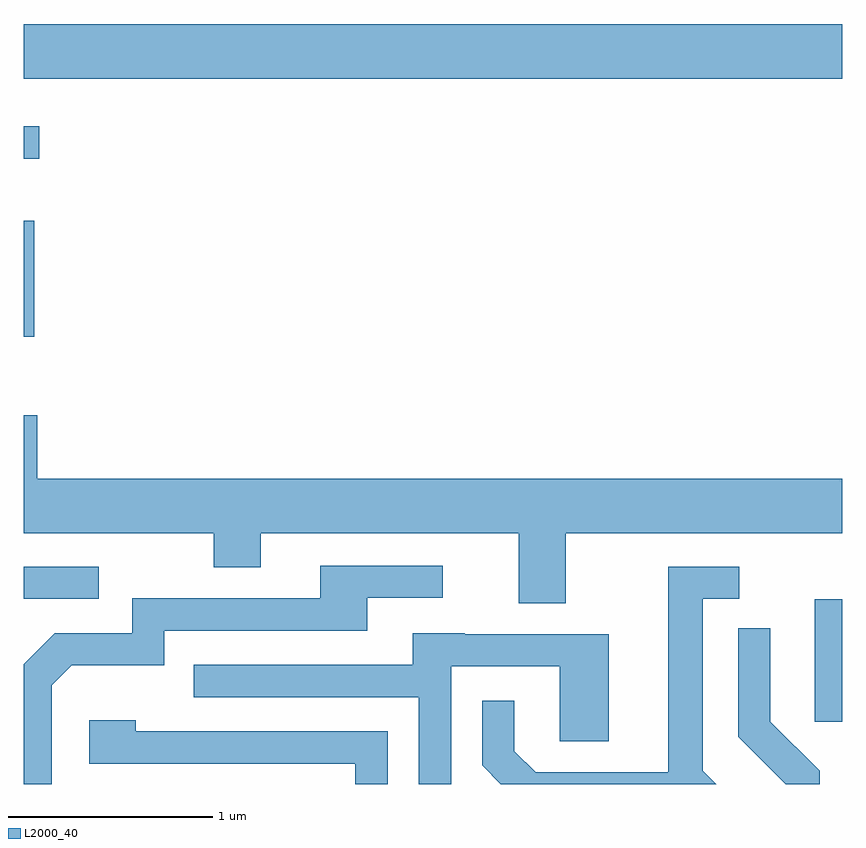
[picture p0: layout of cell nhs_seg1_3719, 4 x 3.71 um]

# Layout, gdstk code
import gdstk
lib = gdstk.Library(unit=1e-6, precision=1e-09)
def R(c, l, rs):  # rectangles x0, y0, x1, y1
    for r in rs: c.add(gdstk.rectangle(r[:2], r[2:], *l))
def P(c, l, *ps):  # polygons
    for p in ps: c.add(gdstk.Polygon(p, *l))
L2000_40 = (2000, 40)

nhs_seg1_3719 = lib.new_cell('nhs_seg1_3719')
R(nhs_seg1_3719, L2000_40, [(301.476,872.016,301.611,872.614), (297.611,872.616,297.978,872.774), (297.611,873.896,297.664,874.464), (297.611,874.766,297.688,874.924), (297.611,875.156,301.611,875.424)])
P(nhs_seg1_3719, L2000_40, [(297.679,873.514),(297.611,873.514),(297.611,872.936),(298.541,872.936),(298.541,872.771),(298.769,872.771),(298.769,872.936),(300.031,872.936),(300.031,872.596),(300.259,872.596),(300.259,872.936),(301.611,872.936),(301.611,873.204),(297.679,873.204)],
  [(297.749,872.194),(297.847,872.291),(298.299,872.291),(298.299,872.461),(299.289,872.461),(299.289,872.621),(299.658,872.621),(299.658,872.779),(299.061,872.779),(299.061,872.619),(298.141,872.619),(298.141,872.449),(297.764,872.449),(297.611,872.297),(297.611,871.712),(297.749,871.712)],
  [(300.929,871.777),(300.929,872.616),(301.108,872.616),(301.108,872.774),(300.761,872.774),(300.761,871.769),(300.112,871.769),(300.009,871.872),(300.009,872.118),(299.851,872.118),(299.851,871.804),(299.943,871.712),(300.994,871.712)],
  [(301.499,871.777),(301.259,872.017),(301.259,872.473),(301.101,872.473),(301.101,871.944),(301.333,871.712),(301.499,871.712)],
  [(299.699,872.286),(300.231,872.286),(300.231,871.921),(300.469,871.921),(300.469,872.444),(299.765,872.444),(299.765,872.449),(299.511,872.449),(299.511,872.294),(298.443,872.294),(298.443,872.136),(299.541,872.136),(299.541,871.712),(299.699,871.712)],
  [(299.389,871.969),(298.159,871.969),(298.159,872.024),(297.931,872.024),(297.931,871.811),(299.231,871.811),(299.231,871.712),(299.389,871.712)])

lib.write_gds('nhs_seg1_3719.gds')
